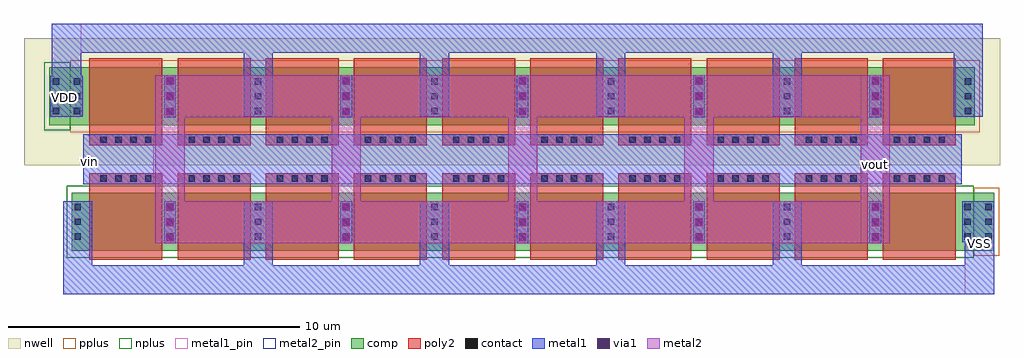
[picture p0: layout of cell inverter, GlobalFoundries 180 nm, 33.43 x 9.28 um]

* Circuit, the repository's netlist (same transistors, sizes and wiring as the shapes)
** sch_path: /foss/designs/gf180mcu_chipalooza_analog_project/macros/inverter/schematic/xschem/inverter.sch
**.subckt inverter VDD vin vout VSS
*.iopin VDD
*.iopin VSS
*.ipin vin
*.opin vout
XM1 vout vin VDD VDD pfet_03v3 L=2.5u W=20u nf=10 ad='int((nf+1)/2) * W/nf * 0.18u' as='int((nf+2)/2) * W/nf * 0.18u' pd='2*int((nf+1)/2) * (W/nf + 0.18u)'
+ ps='2*int((nf+2)/2) * (W/nf + 0.18u)' nrd='0.18u / W' nrs='0.18u / W' sa=0 sb=0 sd=0
XM2 vout vin VSS VSS nfet_03v3 L=2.5u W=20u nf=10 ad='int((nf+1)/2) * W/nf * 0.18u' as='int((nf+2)/2) * W/nf * 0.18u' pd='2*int((nf+1)/2) * (W/nf + 0.18u)'
+ ps='2*int((nf+2)/2) * (W/nf + 0.18u)' nrd='0.18u / W' nrs='0.18u / W' sa=0 sb=0 sd=0
**.ends
.end

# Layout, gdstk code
from math import pi, radians
import gdstk
lib = gdstk.Library(unit=1e-6, precision=1e-09)
def R(c, l, rs):  # rectangles x0, y0, x1, y1
    for r in rs: c.add(gdstk.rectangle(r[:2], r[2:], *l))
def A(c, l, x, y, w, h, nx, ny, dx, dy):  # array of equal rectangles
    R(c, l, [(x+i*dx, y+j*dy, x+i*dx+w, y+j*dy+h) for i in range(nx) for j in range(ny)])
nwell = (21, 0)
comp = (22, 0)
poly2 = (30, 0)
pplus = (31, 0)
nplus = (32, 0)
contact = (33, 0)
metal1 = (34, 0)
metal1_pin = (34, 10)
via1 = (35, 0)
metal2 = (36, 0)
metal2_pin = (36, 10)

pfet = lib.new_cell('pfet')
R(pfet, nwell, [(-1.32,-0.99,32.11,3.37)])
R(pfet, comp, [(-0.46,0,31.25,2)])
A(pfet, poly2, 0.19, -0.3, 2.5, 2.98, 10, 1, 3.02, 0)
R(pfet, pplus, [(-0.63,-0.24,30.52,2.24)])
R(pfet, nplus, [(30.52,-0.17,31.42,2.17)])
A(pfet, contact, -0.34, 0.38, 0.22, 0.22, 1, 3, 0, 0.51)
A(pfet, contact, 2.84, 0.38, 0.22, 0.22, 9, 3, 3.02, 0.51)
A(pfet, contact, 30.18, 0.38, 0.22, 0.22, 1, 3, 0, 0.51)
A(pfet, contact, 30.91, 0.38, 0.22, 0.22, 1, 3, 0, 0.51)
A(pfet, contact, 0.565, 2.38, 0.22, 0.22, 4, 1, 0.51, 0)
A(pfet, contact, 3.585, 2.38, 0.22, 0.22, 4, 1, 0.51, 0)
A(pfet, contact, 6.605, 2.38, 0.22, 0.22, 4, 1, 0.51, 0)
A(pfet, contact, 9.625, 2.38, 0.22, 0.22, 4, 1, 0.51, 0)
A(pfet, contact, 12.645, 2.38, 0.22, 0.22, 4, 1, 0.51, 0)
A(pfet, contact, 15.665, 2.38, 0.22, 0.22, 4, 1, 0.51, 0)
A(pfet, contact, 18.685, 2.38, 0.22, 0.22, 4, 1, 0.51, 0)
A(pfet, contact, 21.705, 2.38, 0.22, 0.22, 4, 1, 0.51, 0)
A(pfet, contact, 24.725, 2.38, 0.22, 0.22, 4, 1, 0.51, 0)
A(pfet, contact, 27.745, 2.38, 0.22, 0.22, 4, 1, 0.51, 0)
A(pfet, metal1, 2.76, 0.3, 0.38, 1.4, 9, 1, 3.02, 0)
A(pfet, metal1, 0.485, 2.3, 1.91, 0.38, 10, 1, 3.02, 0)
R(pfet, metal1, [(-0.42,0.3,-0.04,1.7), (30.1,0.3,30.48,1.7), (30.83,0.3,31.21,1.7)])

via_dev = lib.new_cell('via_dev')
R(via_dev, metal1, [(0,0,0.4,0.4)])
R(via_dev, via1, [(0.07,0.07,0.33,0.33)])
R(via_dev, metal2, [(0,0,0.4,0.4)])

nfet = lib.new_cell('nfet')
R(nfet, comp, [(-0.42,0,31.19,2)])
A(nfet, poly2, 0.19, -0.3, 2.5, 2.96, 10, 1, 3.02, 0)
R(nfet, pplus, [(30.48,-0.17,31.36,2.17)])
R(nfet, nplus, [(-0.59,-0.24,30.48,2.24)])
A(nfet, contact, -0.32, 0.38, 0.22, 0.22, 1, 3, 0, 0.51)
A(nfet, contact, 2.84, 0.38, 0.22, 0.22, 9, 3, 3.02, 0.51)
A(nfet, contact, 30.16, 0.38, 0.22, 0.22, 1, 3, 0, 0.51)
A(nfet, contact, 30.87, 0.38, 0.22, 0.22, 1, 3, 0, 0.51)
A(nfet, contact, 0.565, 2.37, 0.22, 0.22, 4, 1, 0.51, 0)
A(nfet, contact, 3.585, 2.37, 0.22, 0.22, 4, 1, 0.51, 0)
A(nfet, contact, 6.605, 2.37, 0.22, 0.22, 4, 1, 0.51, 0)
A(nfet, contact, 9.625, 2.37, 0.22, 0.22, 4, 1, 0.51, 0)
A(nfet, contact, 12.645, 2.37, 0.22, 0.22, 4, 1, 0.51, 0)
A(nfet, contact, 15.665, 2.37, 0.22, 0.22, 4, 1, 0.51, 0)
A(nfet, contact, 18.685, 2.37, 0.22, 0.22, 4, 1, 0.51, 0)
A(nfet, contact, 21.705, 2.37, 0.22, 0.22, 4, 1, 0.51, 0)
A(nfet, contact, 24.725, 2.37, 0.22, 0.22, 4, 1, 0.51, 0)
A(nfet, contact, 27.745, 2.37, 0.22, 0.22, 4, 1, 0.51, 0)
A(nfet, metal1, 2.76, 0.3, 0.38, 1.4, 9, 1, 3.02, 0)
A(nfet, metal1, 0.485, 2.29, 1.91, 0.38, 10, 1, 3.02, 0)
R(nfet, metal1, [(-0.4,0.3,-0.02,1.7), (30.08,0.3,30.46,1.7), (30.79,0.3,31.17,1.7)])

inverter = lib.new_cell('inverter')
A(inverter, metal1, 14.695, -5.21, 0.4, 1.44, 3, 2, 6.04, 4.315)
R(inverter, metal1, [(2.615,-5.21,3.015,-3.77), (8.65,-5.21,9.05,-3.77), (29.945,-5.175,31.035,-3.775), (-0.15,-3.185,29.94,-1.475), (2.615,-0.895,3.015,0.545), (8.65,-0.895,9.05,0.545), (-1.285,-0.875,-0.175,0.525)])
R(inverter, metal1_pin, [(30.04,-6.965,31.04,-3.775), (-0.15,-3.185,2.26,-1.475), (-1.23,-0.875,-0.23,2.315)])
R(inverter, metal2, [(2.615,-5.21,27.175,-3.77), (2.615,-0.895,27.175,0.545)])
R(inverter, metal2_pin, [(26.475,-5.21,27.475,0.545)])
inverter.add(gdstk.FlexPath([(-0.345,-3.775),(-0.345,-6.465)], 1, ends="flush", simple_path=True, layer=34, datatype=0))  # metal1
inverter.add(gdstk.FlexPath([(23.955,-3.775),(23.955,-6.465)], 1, ends="flush", simple_path=True, layer=34, datatype=0))  # metal1
inverter.add(gdstk.FlexPath([(17.915,-3.775),(17.915,-6.465)], 1, ends="flush", simple_path=True, layer=34, datatype=0))  # metal1
inverter.add(gdstk.FlexPath([(11.875,-3.775),(11.875,-6.465)], 1, ends="flush", simple_path=True, layer=34, datatype=0))  # metal1
inverter.add(gdstk.FlexPath([(5.835,-3.775),(5.835,-6.465)], 1, ends="flush", simple_path=True, layer=34, datatype=0))  # metal1
inverter.add(gdstk.FlexPath([(30.54,-3.775),(30.54,-6.465),(-0.345,-6.465),(-0.345,-3.775)], 1, ends="flush", simple_path=True, layer=34, datatype=0))  # metal1
inverter.add(gdstk.FlexPath([(-0.73,-0.875),(-0.73,1.815),(30.155,1.815),(30.155,-0.875)], 1, ends="flush", simple_path=True, layer=34, datatype=0))  # metal1
inverter.add(gdstk.FlexPath([(23.955,-0.875),(23.955,1.815)], 1, ends="flush", simple_path=True, layer=34, datatype=0))  # metal1
inverter.add(gdstk.FlexPath([(17.915,-0.875),(17.915,1.815)], 1, ends="flush", simple_path=True, layer=34, datatype=0))  # metal1
inverter.add(gdstk.FlexPath([(11.875,-0.875),(11.875,1.815)], 1, ends="flush", simple_path=True, layer=34, datatype=0))  # metal1
inverter.add(gdstk.FlexPath([(5.835,-0.875),(5.835,1.815)], 1, ends="flush", simple_path=True, layer=34, datatype=0))  # metal1
inverter.add(gdstk.FlexPath([(2.815,0.545),(2.815,-5.21)], 1, ends="flush", simple_path=True, layer=36, datatype=0))  # metal2
inverter.add(gdstk.FlexPath([(8.85,0.545),(8.85,-5.21)], 1, ends="flush", simple_path=True, layer=36, datatype=0))  # metal2
inverter.add(gdstk.FlexPath([(14.895,0.545),(14.895,-5.21)], 1, ends="flush", simple_path=True, layer=36, datatype=0))  # metal2
inverter.add(gdstk.FlexPath([(20.935,0.545),(20.935,-5.21)], 1, ends="flush", simple_path=True, layer=36, datatype=0))  # metal2
inverter.add(gdstk.FlexPath([(26.975,0.545),(26.975,-5.21)], 1, ends="flush", simple_path=True, layer=36, datatype=0))  # metal2
inverter.add(gdstk.Reference(pfet, (29.925,0.825), rotation=pi))
r = gdstk.Reference(via_dev, (8.65,-0.895)); r.repetition = gdstk.Repetition(1, 3, v1=(0,0), v2=(0,0.52)); inverter.add(r)
r = gdstk.Reference(via_dev, (14.695,-0.895)); r.repetition = gdstk.Repetition(1, 3, v1=(0,0), v2=(0,0.52)); inverter.add(r)
r = gdstk.Reference(via_dev, (20.735,-0.895)); r.repetition = gdstk.Repetition(1, 3, v1=(0,0), v2=(0,0.52)); inverter.add(r)
r = gdstk.Reference(via_dev, (26.775,-0.895)); r.repetition = gdstk.Repetition(1, 3, v1=(0,0), v2=(0,0.52)); inverter.add(r)
r = gdstk.Reference(via_dev, (2.615,-0.895)); r.repetition = gdstk.Repetition(1, 3, v1=(0,0), v2=(0,0.52)); inverter.add(r)
r = gdstk.Reference(nfet, (-0.135,-5.475)); r.repetition = gdstk.Repetition(1, 1, v1=(0,0), v2=(0,0)); inverter.add(r)
r = gdstk.Reference(via_dev, (2.615,-5.21)); r.repetition = gdstk.Repetition(1, 3, v1=(0,0), v2=(0,0.52)); inverter.add(r)
r = gdstk.Reference(via_dev, (26.775,-5.21)); r.repetition = gdstk.Repetition(1, 3, v1=(0,0), v2=(0,0.52)); inverter.add(r)
r = gdstk.Reference(via_dev, (20.735,-5.21)); r.repetition = gdstk.Repetition(1, 3, v1=(0,0), v2=(0,0.52)); inverter.add(r)
r = gdstk.Reference(via_dev, (14.695,-5.21)); r.repetition = gdstk.Repetition(1, 3, v1=(0,0), v2=(0,0.52)); inverter.add(r)
r = gdstk.Reference(via_dev, (8.65,-5.21)); r.repetition = gdstk.Repetition(1, 3, v1=(0,0), v2=(0,0.52)); inverter.add(r)
inverter.add(gdstk.Label('vin', (0.05,-2.42), layer=34, texttype=0))
inverter.add(gdstk.Label('VSS', (30.54,-5.23), layer=34, texttype=0))
inverter.add(gdstk.Label('VDD', (-0.795,-0.205), layer=34, texttype=0))
inverter.add(gdstk.Label('vout', (26.975,-2.52), layer=36, texttype=0))

lib.write_gds('inverter.gds')
